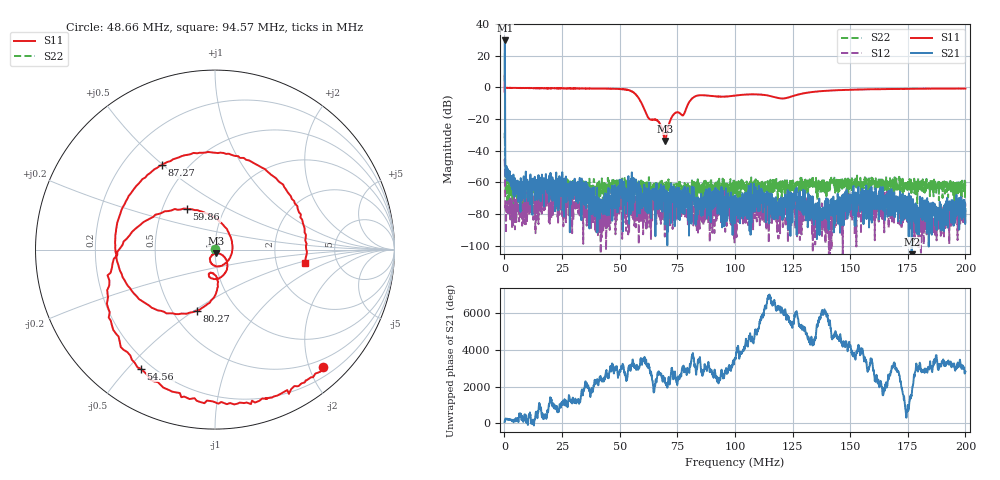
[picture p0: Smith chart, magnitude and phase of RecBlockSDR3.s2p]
! 19-Feb-26 3:28:24 PM
! E:\VNA_MEASUREMENTS\RECBLOCK\RECBLOCKSDR3.S2P
! CHANNEL.1
! TR.MEASUREMENT
! CORRECTED.DATA
# GHZ S RI R 50.0
! FREQ.GHZ  S11RE  S11IM  S21RE  S21IM  S12RE  S12IM  S22RE  S22IM
!; PortSelection: Port_12
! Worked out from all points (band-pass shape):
!   2000 points, 50 kHz to 200 MHz, reference 50 ohm
!   highest |S21| = 29.65 dB at 150 kHz (marker M1); lowest = -106.8 dB at 176.7 MHz (marker M2)
!   |S21| within 3 dB of the highest: 138.2 kHz to 160.7 kHz (22.5 kHz wide, 15.1 % of centre)
!   lowest |S11| = -33.8 dB at 69.77 MHz (marker M3), VSWR 1.04, Z = 50.5 - j2 ohm
!   |S11| at or under -10 dB: 59.48 MHz to 79.89 MHz (20.41 MHz wide, 29.3 % of centre)
!   |S22| runs from -86.9 to -28.8 dB; largest |S21 - S12| = 30
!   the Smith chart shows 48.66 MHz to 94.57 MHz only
!   S11 on the Smith chart (normalised r, x): 48.66 MHz: 0.36, -2.23; 54.56 MHz: 0.16, -0.54; 59.86 MHz: 0.66, +0.33; 80.27 MHz: 0.66, -0.51; 87.27 MHz: 0.36, +0.50; 94.57 MHz: 2.93, -0.60
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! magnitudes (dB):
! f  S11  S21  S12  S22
! 50 kHz  -2.7  4.3  -45.3  -32.1
! 150 kHz  7.8  29.6  -47.6  -28.8
! 1.35 MHz  -0.3  -53.5  -72.0  -56.2
! 5.951 MHz  -0.4  -72.2  -75.2  -66.4
! 18.15 MHz  -0.5  -64.6  -66.8  -66.0
! 33.46 MHz  -0.6  -57.7  -73.6  -58.9
! 41.26 MHz  -0.8  -83.1  -84.3  -66.0
! 48.66 MHz  -1.0  -70.7  -83.9  -60.9
! 54.56 MHz  -2.1  -59.4  -72.5  -65.6
! 59.86 MHz  -11.1  -67.2  -78.2  -61.6
! 66.77 MHz  -21.6  -73.9  -76.0  -66.7
! 69.77 MHz  -33.8  -71.2  -70.1  -59.6
! 73.17 MHz  -17.4  -66.2  -74.7  -66.8
! 80.27 MHz  -9.0  -68.6  -81.5  -62.7
! 87.27 MHz  -5.1  -67.9  -83.4  -59.0
! 94.57 MHz  -5.9  -81.8  -69.7  -61.1
! 100.1 MHz  -5.2  -79.8  -76.8  -66.8
! 108.7 MHz  -4.4  -74.4  -82.8  -61.9
! 133.4 MHz  -2.9  -77.1  -75.5  -57.5
! 166.7 MHz  -1.1  -65.1  -88.8  -61.1
! 176.7 MHz  -0.9  -106.8  -79.3  -61.5
! 200 MHz  -0.8  -76.8  -73.4  -62.2
